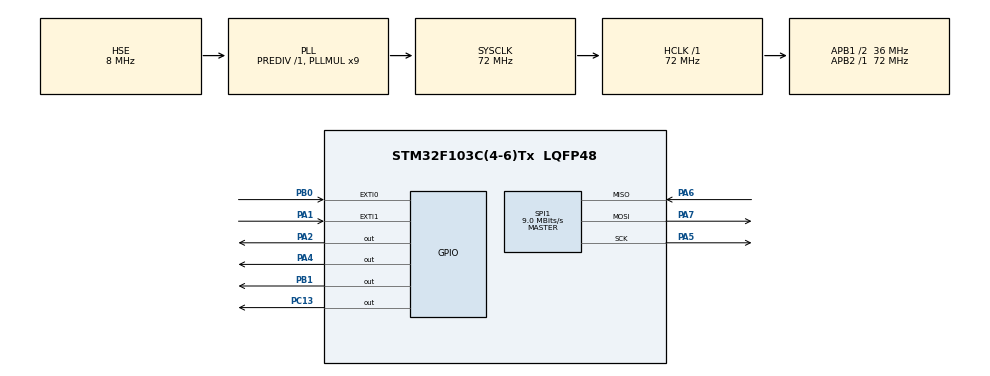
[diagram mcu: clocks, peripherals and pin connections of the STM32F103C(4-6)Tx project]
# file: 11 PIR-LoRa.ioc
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Mcu.Family=STM32F1
Mcu.Name=STM32F103C(4-6)Tx
Mcu.Package=LQFP48
NVIC.EXTI0_IRQn=true\:0\:0\:false\:false\:true\:true\:true\:true
NVIC.EXTI1_IRQn=true\:0\:0\:false\:false\:true\:true\:true\:true
NVIC.PriorityGroup=NVIC_PRIORITYGROUP_4
NVIC.TIM2_IRQn=true\:0\:0\:false\:false\:true\:true\:true\:true
PA1.Signal=GPXTI1
PA13.Mode=Serial_Wire
PA13.Signal=SYS_JTMS-SWDIO
PA14.Mode=Serial_Wire
PA14.Signal=SYS_JTCK-SWCLK
PA2.Signal=GPIO_Output
PA4.Signal=GPIO_Output
PA5.Mode=Full_Duplex_Master
PA5.Signal=SPI1_SCK
PA6.Mode=Full_Duplex_Master
PA6.Signal=SPI1_MISO
PA7.Mode=Full_Duplex_Master
PA7.Signal=SPI1_MOSI
PB0.Signal=GPXTI0
PB1.Signal=GPIO_Output
PC13-TAMPER-RTC.GPIO_PuPd=GPIO_NOPULL
PC13-TAMPER-RTC.Signal=GPIO_Output
PD0-OSC_IN.Mode=HSE-External-Oscillator
PD0-OSC_IN.Signal=RCC_OSC_IN
PD1-OSC_OUT.Mode=HSE-External-Oscillator
PD1-OSC_OUT.Signal=RCC_OSC_OUT
ProjectManager.HeapSize=0x200
ProjectManager.StackSize=0x400
ProjectManager.TargetToolchain=STM32CubeIDE
RCC.AHBFreq_Value=72000000
RCC.APB1CLKDivider=RCC_HCLK_DIV2
RCC.APB1Freq_Value=36000000
RCC.APB1TimFreq_Value=72000000
RCC.APB2Freq_Value=72000000
RCC.APB2TimFreq_Value=72000000
RCC.HCLKFreq_Value=72000000
RCC.PLLMUL=RCC_PLL_MUL9
RCC.PLLSourceVirtual=RCC_PLLSOURCE_HSE
RCC.SYSCLKFreq_VALUE=72000000
RCC.SYSCLKSource=RCC_SYSCLKSOURCE_PLLCLK
RCC.USBFreq_Value=72000000
SPI1.BaudRatePrescaler=SPI_BAUDRATEPRESCALER_8
SPI1.CalculateBaudRate=9.0 MBits/s
SPI1.Direction=SPI_DIRECTION_2LINES
SPI1.Mode=SPI_MODE_MASTER
SPI1.VirtualType=VM_MASTER
TIM2.Period=999
TIM2.Prescaler=71
VP_TIM2_VS_ClockSourceINT.Mode=Internal
board=custom

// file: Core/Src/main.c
/* USER CODE BEGIN Header */
/**
  ******************************************************************************
  * @file           : main.c
  * @brief          : Main program body
  ******************************************************************************
  * @attention
  *
  * Copyright (c) 2026 STMicroelectronics.
  * All rights reserved.
  *
  * This software is licensed under terms that can be found in the LICENSE file
  * in the root directory of this software component.
  * If no LICENSE file comes with this software, it is provided AS-IS.
  *
  ******************************************************************************
  */
/* USER CODE END Header */
#include "main.h"

/* USER CODE BEGIN Includes */
#include "motion.h"
#include "lora.h"
/* USER CODE END Includes */

SPI_HandleTypeDef hspi1;

TIM_HandleTypeDef htim2;

/* USER CODE BEGIN PV */
volatile uint32_t system_time_ms = 0;

/* USER CODE END PV */

void SystemClock_Config(void);
static void MX_GPIO_Init(void);
static void MX_TIM2_Init(void);
static void MX_SPI1_Init(void);

int main(void)
{

  /* MCU Configuration--------------------------------------------------------*/

  /* Reset of all peripherals, Initializes the Flash interface and the Systick. */
  HAL_Init();

  /* Configure the system clock */
  SystemClock_Config();

  /* Initialize all configured peripherals */
  MX_GPIO_Init();
  MX_TIM2_Init();
  MX_SPI1_Init();
  /* USER CODE BEGIN 2 */
  // START TIMER WITH INTERRUPT
  HAL_TIM_Base_Start_IT(&htim2);
  Motion_Init();
  LoRa_Init();
  LoRa_SetRxMode();
  /* USER CODE END 2 */

  /* Infinite loop */
  /* USER CODE BEGIN WHILE */

  uint8_t rxBuffer[3];

  while (1)
  {
	  if(motion_detected)
	  {
		  motion_detected = 0;

		  //LoRa
		  uint8_t payload[6];

		  payload[0] = 0x01;  // NodeID
		  payload[1] = 0x01;  // Motion event ID
		  payload[2] = (motion_event.timestamp >> 24);
		  payload[3] = (motion_event.timestamp >> 16);
		  payload[4] = (motion_event.timestamp >> 8);
		  payload[5] = (motion_event.timestamp);

		  LoRa_Send(payload, 6);

		  // Process event
		  // LED ON
		  HAL_GPIO_WritePin(GPIOC, GPIO_PIN_13, GPIO_PIN_RESET);
		  HAL_Delay(200);
		  // LED OFF
		  HAL_GPIO_WritePin(GPIOC, GPIO_PIN_13, GPIO_PIN_SET);

		  //RX mode after sending motion, LoRa is half-duplex.
		  LoRa_SetRxMode();
	  }

	  if(lora_rx_flag)
	  {
		  lora_rx_flag = 0;

		  uint8_t len = LoRa_ReadPacket(rxBuffer);

		  if(len == 3)
		  {
			  uint8_t nodeId = rxBuffer[0];
			  uint8_t cmdId  = rxBuffer[1];
			  uint8_t value  = rxBuffer[2];

			  if (nodeId == 0x01) {

				  if (cmdId == 0x10) {  // LED control

					  if (value == 0x01)
						  HAL_GPIO_WritePin(GPIOA, GPIO_PIN_2, GPIO_PIN_SET);
					  else
						  HAL_GPIO_WritePin(GPIOA, GPIO_PIN_2, GPIO_PIN_RESET);
				  }
			  }
		  }

		  LoRa_SetRxMode(); // Return to RX mode
	  }

    /* USER CODE END WHILE */

  }
}

void SystemClock_Config(void)
{
  RCC_OscInitTypeDef RCC_OscInitStruct = {0};
  RCC_ClkInitTypeDef RCC_ClkInitStruct = {0};

  /** Initializes the RCC Oscillators according to the specified parameters
  * in the RCC_OscInitTypeDef structure.
  */
  RCC_OscInitStruct.OscillatorType = RCC_OSCILLATORTYPE_HSE;
  RCC_OscInitStruct.HSEState = RCC_HSE_ON;
  RCC_OscInitStruct.HSEPredivValue = RCC_HSE_PREDIV_DIV1;
  RCC_OscInitStruct.HSIState = RCC_HSI_ON;
  RCC_OscInitStruct.PLL.PLLState = RCC_PLL_ON;
  RCC_OscInitStruct.PLL.PLLSource = RCC_PLLSOURCE_HSE;
  RCC_OscInitStruct.PLL.PLLMUL = RCC_PLL_MUL9;
  if (HAL_RCC_OscConfig(&RCC_OscInitStruct) != HAL_OK)
  {
    Error_Handler();
  }

  /** Initializes the CPU, AHB and APB buses clocks
  */
  RCC_ClkInitStruct.ClockType = RCC_CLOCKTYPE_HCLK|RCC_CLOCKTYPE_SYSCLK
                              |RCC_CLOCKTYPE_PCLK1|RCC_CLOCKTYPE_PCLK2;
  RCC_ClkInitStruct.SYSCLKSource = RCC_SYSCLKSOURCE_PLLCLK;
  RCC_ClkInitStruct.AHBCLKDivider = RCC_SYSCLK_DIV1;
  RCC_ClkInitStruct.APB1CLKDivider = RCC_HCLK_DIV2;
  RCC_ClkInitStruct.APB2CLKDivider = RCC_HCLK_DIV1;

  if (HAL_RCC_ClockConfig(&RCC_ClkInitStruct, FLASH_LATENCY_2) != HAL_OK)
  {
    Error_Handler();
  }
}

static void MX_SPI1_Init(void)
{

  /* SPI1 parameter configuration*/
  hspi1.Instance = SPI1;
  hspi1.Init.Mode = SPI_MODE_MASTER;
  hspi1.Init.Direction = SPI_DIRECTION_2LINES;
  hspi1.Init.DataSize = SPI_DATASIZE_8BIT;
  hspi1.Init.CLKPolarity = SPI_POLARITY_LOW;
  hspi1.Init.CLKPhase = SPI_PHASE_1EDGE;
  hspi1.Init.NSS = SPI_NSS_SOFT;
  hspi1.Init.BaudRatePrescaler = SPI_BAUDRATEPRESCALER_8;
  hspi1.Init.FirstBit = SPI_FIRSTBIT_MSB;
  hspi1.Init.TIMode = SPI_TIMODE_DISABLE;
  hspi1.Init.CRCCalculation = SPI_CRCCALCULATION_DISABLE;
  hspi1.Init.CRCPolynomial = 10;
  if (HAL_SPI_Init(&hspi1) != HAL_OK)
  {
    Error_Handler();
  }

}

static void MX_TIM2_Init(void)
{

  TIM_ClockConfigTypeDef sClockSourceConfig = {0};
  TIM_MasterConfigTypeDef sMasterConfig = {0};

  htim2.Instance = TIM2;
  htim2.Init.Prescaler = 71;
  htim2.Init.CounterMode = TIM_COUNTERMODE_UP;
  htim2.Init.Period = 999;
  htim2.Init.ClockDivision = TIM_CLOCKDIVISION_DIV1;
  htim2.Init.AutoReloadPreload = TIM_AUTORELOAD_PRELOAD_DISABLE;
  if (HAL_TIM_Base_Init(&htim2) != HAL_OK)
  {
    Error_Handler();
  }
  sClockSourceConfig.ClockSource = TIM_CLOCKSOURCE_INTERNAL;
  if (HAL_TIM_ConfigClockSource(&htim2, &sClockSourceConfig) != HAL_OK)
  {
    Error_Handler();
  }
  sMasterConfig.MasterOutputTrigger = TIM_TRGO_RESET;
  sMasterConfig.MasterSlaveMode = TIM_MASTERSLAVEMODE_DISABLE;
  if (HAL_TIMEx_MasterConfigSynchronization(&htim2, &sMasterConfig) != HAL_OK)
  {
    Error_Handler();
  }

}

static void MX_GPIO_Init(void)
{
  GPIO_InitTypeDef GPIO_InitStruct = {0};

  /* GPIO Ports Clock Enable */
  __HAL_RCC_GPIOC_CLK_ENABLE();
  __HAL_RCC_GPIOD_CLK_ENABLE();
  __HAL_RCC_GPIOA_CLK_ENABLE();
  __HAL_RCC_GPIOB_CLK_ENABLE();

  /*Configure GPIO pin Output Level */
  HAL_GPIO_WritePin(GPIOC, GPIO_PIN_13, GPIO_PIN_RESET);

  /*Configure GPIO pin Output Level */
  HAL_GPIO_WritePin(GPIOA, GPIO_PIN_2|GPIO_PIN_4, GPIO_PIN_RESET);

  /*Configure GPIO pin Output Level */
  HAL_GPIO_WritePin(GPIOB, GPIO_PIN_1, GPIO_PIN_RESET);

  /*Configure GPIO pin : PC13 */
  GPIO_InitStruct.Pin = GPIO_PIN_13;
  GPIO_InitStruct.Mode = GPIO_MODE_OUTPUT_PP;
  GPIO_InitStruct.Pull = GPIO_NOPULL;
  GPIO_InitStruct.Speed = GPIO_SPEED_FREQ_LOW;
  HAL_GPIO_Init(GPIOC, &GPIO_InitStruct);

  /*Configure GPIO pin : PA1 */
  GPIO_InitStruct.Pin = GPIO_PIN_1;
  GPIO_InitStruct.Mode = GPIO_MODE_IT_RISING;
  GPIO_InitStruct.Pull = GPIO_NOPULL;
  HAL_GPIO_Init(GPIOA, &GPIO_InitStruct);

  /*Configure GPIO pins : PA2 PA4 */
  GPIO_InitStruct.Pin = GPIO_PIN_2|GPIO_PIN_4;
  GPIO_InitStruct.Mode = GPIO_MODE_OUTPUT_PP;
  GPIO_InitStruct.Pull = GPIO_NOPULL;
  GPIO_InitStruct.Speed = GPIO_SPEED_FREQ_LOW;
  HAL_GPIO_Init(GPIOA, &GPIO_InitStruct);

  /*Configure GPIO pin : PB0 */
  GPIO_InitStruct.Pin = GPIO_PIN_0;
  GPIO_InitStruct.Mode = GPIO_MODE_IT_RISING;
  GPIO_InitStruct.Pull = GPIO_NOPULL;
  HAL_GPIO_Init(GPIOB, &GPIO_InitStruct);

  /*Configure GPIO pin : PB1 */
  GPIO_InitStruct.Pin = GPIO_PIN_1;
  GPIO_InitStruct.Mode = GPIO_MODE_OUTPUT_PP;
  GPIO_InitStruct.Pull = GPIO_NOPULL;
  GPIO_InitStruct.Speed = GPIO_SPEED_FREQ_LOW;
  HAL_GPIO_Init(GPIOB, &GPIO_InitStruct);

  /* EXTI interrupt init*/
  HAL_NVIC_SetPriority(EXTI0_IRQn, 0, 0);
  HAL_NVIC_EnableIRQ(EXTI0_IRQn);

  HAL_NVIC_SetPriority(EXTI1_IRQn, 0, 0);
  HAL_NVIC_EnableIRQ(EXTI1_IRQn);

}

/* USER CODE BEGIN 4 */
void HAL_GPIO_EXTI_Callback(uint16_t GPIO_Pin)
{
	if(GPIO_Pin == GPIO_PIN_0)   // PB0 DIO0
	{
		lora_rx_flag = 1;
	}

    if(GPIO_Pin == GPIO_PIN_1)	// PA1 MOTION
    {
        Motion_EXTI_Handler(system_time_ms);
    }
}

void HAL_TIM_PeriodElapsedCallback(TIM_HandleTypeDef *htim)
{
    if(htim->Instance == TIM2)
    {
        system_time_ms++;
    }
}

/* USER CODE END 4 */

void Error_Handler(void)
{
  __disable_irq();
  while (1)
  {
  }
}
